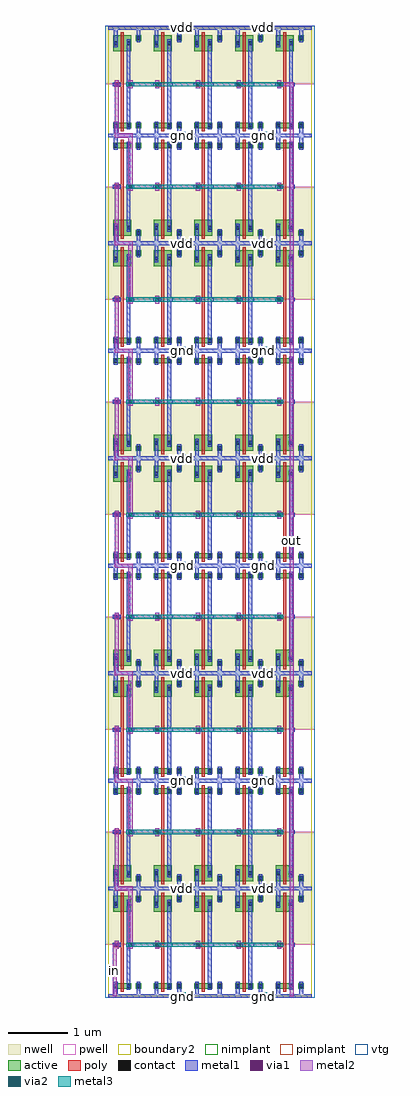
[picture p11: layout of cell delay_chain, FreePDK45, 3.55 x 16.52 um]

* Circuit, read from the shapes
.subckt delay_chain gnd in out vdd
M1 pinv_17_1/A in gnd gnd nfet w=0.09u l=0.05u
M2 pinv_17_10/A pinv_17_1/A gnd gnd nfet w=0.09u l=0.05u
M3 pinv_17_11/A pinv_17_10/A gnd gnd nfet w=0.09u l=0.05u
M4 pinv_17_16/A pinv_17_11/A gnd gnd nfet w=0.09u l=0.05u
M5 pinv_17_21/A pinv_17_16/A gnd gnd nfet w=0.09u l=0.05u
M6 pinv_17_26/A pinv_17_21/A gnd gnd nfet w=0.09u l=0.05u
M7 pinv_17_31/A pinv_17_26/A gnd gnd nfet w=0.09u l=0.05u
M8 pinv_17_36/A pinv_17_31/A gnd gnd nfet w=0.09u l=0.05u
M9 out pinv_17_36/A gnd gnd nfet w=0.09u l=0.05u
M10 pinv_17_1/Z pinv_17_1/A gnd gnd nfet w=0.09u l=0.05u
M11 pinv_17_6/Z pinv_17_10/A gnd gnd nfet w=0.09u l=0.05u
M12 pinv_17_11/Z pinv_17_11/A gnd gnd nfet w=0.09u l=0.05u
M13 pinv_17_16/Z pinv_17_16/A gnd gnd nfet w=0.09u l=0.05u
M14 pinv_17_21/Z pinv_17_21/A gnd gnd nfet w=0.09u l=0.05u
M15 pinv_17_26/Z pinv_17_26/A gnd gnd nfet w=0.09u l=0.05u
M16 pinv_17_31/Z pinv_17_31/A gnd gnd nfet w=0.09u l=0.05u
M17 pinv_17_36/Z pinv_17_36/A gnd gnd nfet w=0.09u l=0.05u
M18 pinv_17_41/Z out gnd gnd nfet w=0.09u l=0.05u
M19 pinv_17_2/Z pinv_17_1/A gnd gnd nfet w=0.09u l=0.05u
M20 pinv_17_7/Z pinv_17_10/A gnd gnd nfet w=0.09u l=0.05u
M21 pinv_17_12/Z pinv_17_11/A gnd gnd nfet w=0.09u l=0.05u
M22 pinv_17_17/Z pinv_17_16/A gnd gnd nfet w=0.09u l=0.05u
M23 pinv_17_22/Z pinv_17_21/A gnd gnd nfet w=0.09u l=0.05u
M24 pinv_17_27/Z pinv_17_26/A gnd gnd nfet w=0.09u l=0.05u
M25 pinv_17_32/Z pinv_17_31/A gnd gnd nfet w=0.09u l=0.05u
M26 pinv_17_37/Z pinv_17_36/A gnd gnd nfet w=0.09u l=0.05u
M27 pinv_17_42/Z out gnd gnd nfet w=0.09u l=0.05u
M28 pinv_17_3/Z pinv_17_1/A gnd gnd nfet w=0.09u l=0.05u
M29 pinv_17_8/Z pinv_17_10/A gnd gnd nfet w=0.09u l=0.05u
M30 pinv_17_13/Z pinv_17_11/A gnd gnd nfet w=0.09u l=0.05u
M31 pinv_17_18/Z pinv_17_16/A gnd gnd nfet w=0.09u l=0.05u
M32 pinv_17_23/Z pinv_17_21/A gnd gnd nfet w=0.09u l=0.05u
M33 pinv_17_28/Z pinv_17_26/A gnd gnd nfet w=0.09u l=0.05u
M34 pinv_17_33/Z pinv_17_31/A gnd gnd nfet w=0.09u l=0.05u
M35 pinv_17_38/Z pinv_17_36/A gnd gnd nfet w=0.09u l=0.05u
M36 pinv_17_43/Z out gnd gnd nfet w=0.09u l=0.05u
M37 pinv_17_4/Z pinv_17_1/A gnd gnd nfet w=0.09u l=0.05u
M38 pinv_17_9/Z pinv_17_10/A gnd gnd nfet w=0.09u l=0.05u
M39 pinv_17_14/Z pinv_17_11/A gnd gnd nfet w=0.09u l=0.05u
M40 pinv_17_19/Z pinv_17_16/A gnd gnd nfet w=0.09u l=0.05u
M41 pinv_17_24/Z pinv_17_21/A gnd gnd nfet w=0.09u l=0.05u
M42 pinv_17_29/Z pinv_17_26/A gnd gnd nfet w=0.09u l=0.05u
M43 pinv_17_34/Z pinv_17_31/A gnd gnd nfet w=0.09u l=0.05u
M44 pinv_17_39/Z pinv_17_36/A gnd gnd nfet w=0.09u l=0.05u
M45 pinv_17_44/Z out gnd gnd nfet w=0.09u l=0.05u
M46 pinv_17_1/A in vdd vdd pfet w=0.27u l=0.05u
M47 pinv_17_10/A pinv_17_1/A vdd vdd pfet w=0.27u l=0.05u
M48 pinv_17_11/A pinv_17_10/A vdd vdd pfet w=0.27u l=0.05u
M49 pinv_17_16/A pinv_17_11/A vdd vdd pfet w=0.27u l=0.05u
M50 pinv_17_21/A pinv_17_16/A vdd vdd pfet w=0.27u l=0.05u
M51 pinv_17_26/A pinv_17_21/A vdd vdd pfet w=0.27u l=0.05u
M52 pinv_17_31/A pinv_17_26/A vdd vdd pfet w=0.27u l=0.05u
M53 pinv_17_36/A pinv_17_31/A vdd vdd pfet w=0.27u l=0.05u
M54 out pinv_17_36/A vdd vdd pfet w=0.27u l=0.05u
M55 pinv_17_1/Z pinv_17_1/A vdd vdd pfet w=0.27u l=0.05u
M56 pinv_17_6/Z pinv_17_10/A vdd vdd pfet w=0.27u l=0.05u
M57 pinv_17_11/Z pinv_17_11/A vdd vdd pfet w=0.27u l=0.05u
M58 pinv_17_16/Z pinv_17_16/A vdd vdd pfet w=0.27u l=0.05u
M59 pinv_17_21/Z pinv_17_21/A vdd vdd pfet w=0.27u l=0.05u
M60 pinv_17_26/Z pinv_17_26/A vdd vdd pfet w=0.27u l=0.05u
M61 pinv_17_31/Z pinv_17_31/A vdd vdd pfet w=0.27u l=0.05u
M62 pinv_17_36/Z pinv_17_36/A vdd vdd pfet w=0.27u l=0.05u
M63 pinv_17_41/Z out vdd vdd pfet w=0.27u l=0.05u
M64 pinv_17_2/Z pinv_17_1/A vdd vdd pfet w=0.27u l=0.05u
M65 pinv_17_7/Z pinv_17_10/A vdd vdd pfet w=0.27u l=0.05u
M66 pinv_17_12/Z pinv_17_11/A vdd vdd pfet w=0.27u l=0.05u
M67 pinv_17_17/Z pinv_17_16/A vdd vdd pfet w=0.27u l=0.05u
M68 pinv_17_22/Z pinv_17_21/A vdd vdd pfet w=0.27u l=0.05u
M69 pinv_17_27/Z pinv_17_26/A vdd vdd pfet w=0.27u l=0.05u
M70 pinv_17_32/Z pinv_17_31/A vdd vdd pfet w=0.27u l=0.05u
M71 pinv_17_37/Z pinv_17_36/A vdd vdd pfet w=0.27u l=0.05u
M72 pinv_17_42/Z out vdd vdd pfet w=0.27u l=0.05u
M73 pinv_17_3/Z pinv_17_1/A vdd vdd pfet w=0.27u l=0.05u
M74 pinv_17_8/Z pinv_17_10/A vdd vdd pfet w=0.27u l=0.05u
M75 pinv_17_13/Z pinv_17_11/A vdd vdd pfet w=0.27u l=0.05u
M76 pinv_17_18/Z pinv_17_16/A vdd vdd pfet w=0.27u l=0.05u
M77 pinv_17_23/Z pinv_17_21/A vdd vdd pfet w=0.27u l=0.05u
M78 pinv_17_28/Z pinv_17_26/A vdd vdd pfet w=0.27u l=0.05u
M79 pinv_17_33/Z pinv_17_31/A vdd vdd pfet w=0.27u l=0.05u
M80 pinv_17_38/Z pinv_17_36/A vdd vdd pfet w=0.27u l=0.05u
M81 pinv_17_43/Z out vdd vdd pfet w=0.27u l=0.05u
M82 pinv_17_4/Z pinv_17_1/A vdd vdd pfet w=0.27u l=0.05u
M83 pinv_17_9/Z pinv_17_10/A vdd vdd pfet w=0.27u l=0.05u
M84 pinv_17_14/Z pinv_17_11/A vdd vdd pfet w=0.27u l=0.05u
M85 pinv_17_19/Z pinv_17_16/A vdd vdd pfet w=0.27u l=0.05u
M86 pinv_17_24/Z pinv_17_21/A vdd vdd pfet w=0.27u l=0.05u
M87 pinv_17_29/Z pinv_17_26/A vdd vdd pfet w=0.27u l=0.05u
M88 pinv_17_34/Z pinv_17_31/A vdd vdd pfet w=0.27u l=0.05u
M89 pinv_17_39/Z pinv_17_36/A vdd vdd pfet w=0.27u l=0.05u
M90 pinv_17_44/Z out vdd vdd pfet w=0.27u l=0.05u
.ends

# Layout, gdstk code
import gdstk
lib = gdstk.Library(unit=1e-6, precision=5e-10)
def R(c, l, rs):  # rectangles x0, y0, x1, y1
    for r in rs: c.add(gdstk.rectangle(r[:2], r[2:], *l))
def A(c, l, x, y, w, h, nx, ny, dx, dy):  # array of equal rectangles
    R(c, l, [(x+i*dx, y+j*dy, x+i*dx+w, y+j*dy+h) for i in range(nx) for j in range(ny)])
active = (1, 0)
pwell = (2, 0)
nwell = (3, 0)
nimplant = (4, 0)
pimplant = (5, 0)
vtg = (6, 0)
poly = (9, 0)
contact = (10, 0)
metal1 = (11, 0)
via1 = (12, 0)
metal2 = (13, 0)
via2 = (14, 0)
metal3 = (15, 0)
boundary2 = (239, 0)

contact_9 = lib.new_cell('contact_9')
R(contact_9, active, [(0,0.0225,0.09,0.1125)])
R(contact_9, nwell, [(-0.055,-0.0325,0.145,0.1675)])
R(contact_9, pimplant, [(0,0.0225,0.09,0.1125)])
R(contact_9, contact, [(0.0125,0.035,0.0775,0.1)])
R(contact_9, metal1, [(0.0125,0,0.0775,0.135)])
R(contact_9, boundary2, [(-0.055,-0.0325,0.145,0.1675)])

pmos_m1_w0_270_sm1_dm1_d = lib.new_cell('pmos_m1_w0_270_sm1_dm1_da_p')
R(pmos_m1_w0_270_sm1_dm1_d, active, [(0,0,0.305,0.27)])
R(pmos_m1_w0_270_sm1_dm1_d, nwell, [(-0.08,-0.08,0.385,0.35)])
R(pmos_m1_w0_270_sm1_dm1_d, pimplant, [(0,0,0.305,0.27)])
R(pmos_m1_w0_270_sm1_dm1_d, vtg, [(-0.08,-0.08,0.385,0.35)])
R(pmos_m1_w0_270_sm1_dm1_d, poly, [(0.1275,-0.055,0.1775,0.325), (0.1275,-0.055,0.1775,0.325)])
R(pmos_m1_w0_270_sm1_dm1_d, metal1, [(0.0125,0.0675,0.0775,0.2025), (0.2275,0.0675,0.2925,0.2025)])
R(pmos_m1_w0_270_sm1_dm1_d, boundary2, [(-0.08,-0.08,0.385,0.35)])
pmos_m1_w0_270_sm1_dm1_d.add(gdstk.Reference(contact_9, (0,0.0675)))
pmos_m1_w0_270_sm1_dm1_d.add(gdstk.Reference(contact_9, (0.215,0.0675)))
pmos_m1_w0_270_sm1_dm1_d.add(gdstk.Label('G', (0.1525,0.135), layer=9, texttype=0))
pmos_m1_w0_270_sm1_dm1_d.add(gdstk.Label('S', (0.045,0.135), layer=11, texttype=0))
pmos_m1_w0_270_sm1_dm1_d.add(gdstk.Label('D', (0.26,0.135), layer=11, texttype=0))

contact_14 = lib.new_cell('contact_14')
R(contact_14, active, [(0,0.0225,0.09,0.1125)])
R(contact_14, pwell, [(-0.055,-0.0325,0.145,0.1675)])
R(contact_14, nimplant, [(0,0.0225,0.09,0.1125)])
R(contact_14, contact, [(0.0125,0.035,0.0775,0.1)])
R(contact_14, metal1, [(0.0125,0,0.0775,0.135)])
R(contact_14, boundary2, [(-0.055,-0.0325,0.145,0.1675)])

nmos_m1_w0_090_sm1_dm1_d = lib.new_cell('nmos_m1_w0_090_sm1_dm1_da_p')
R(nmos_m1_w0_090_sm1_dm1_d, active, [(0,0,0.305,0.09)])
R(nmos_m1_w0_090_sm1_dm1_d, pwell, [(-0.08,-0.08,0.385,0.17)])
R(nmos_m1_w0_090_sm1_dm1_d, nimplant, [(0,0,0.305,0.09)])
R(nmos_m1_w0_090_sm1_dm1_d, vtg, [(-0.08,-0.08,0.385,0.17)])
R(nmos_m1_w0_090_sm1_dm1_d, poly, [(0.1275,-0.055,0.1775,0.145), (0.1275,-0.055,0.1775,0.145)])
R(nmos_m1_w0_090_sm1_dm1_d, metal1, [(0.0125,-0.0225,0.0775,0.1125), (0.2275,-0.0225,0.2925,0.1125)])
R(nmos_m1_w0_090_sm1_dm1_d, boundary2, [(-0.08,-0.08,0.385,0.17)])
nmos_m1_w0_090_sm1_dm1_d.add(gdstk.Reference(contact_14, (0,-0.0225)))
nmos_m1_w0_090_sm1_dm1_d.add(gdstk.Reference(contact_14, (0.215,-0.0225)))
nmos_m1_w0_090_sm1_dm1_d.add(gdstk.Label('G', (0.1525,0.045), layer=9, texttype=0))
nmos_m1_w0_090_sm1_dm1_d.add(gdstk.Label('S', (0.045,0.045), layer=11, texttype=0))
nmos_m1_w0_090_sm1_dm1_d.add(gdstk.Label('D', (0.26,0.045), layer=11, texttype=0))

contact_18 = lib.new_cell('contact_18')
R(contact_18, active, [(0,0.0225,0.09,0.1125)])
R(contact_18, nwell, [(-0.055,-0.0325,0.145,0.1675)])
R(contact_18, nimplant, [(0,0.0225,0.09,0.1125)])
R(contact_18, contact, [(0.0125,0.035,0.0775,0.1)])
R(contact_18, metal1, [(0.0125,0,0.0775,0.135)])
R(contact_18, boundary2, [(-0.055,-0.0325,0.145,0.1675)])

contact_19 = lib.new_cell('contact_19')
R(contact_19, active, [(0,0.0225,0.09,0.1125)])
R(contact_19, pwell, [(-0.055,-0.0325,0.145,0.1675)])
R(contact_19, pimplant, [(0,0.0225,0.09,0.1125)])
R(contact_19, contact, [(0.0125,0.035,0.0775,0.1)])
R(contact_19, metal1, [(0.0125,0,0.0775,0.135)])
R(contact_19, boundary2, [(-0.055,-0.0325,0.145,0.1675)])

contact_10 = lib.new_cell('contact_10')
R(contact_10, poly, [(0.03,0,0.105,0.075)])
R(contact_10, contact, [(0.035,0.005,0.1,0.07)])
R(contact_10, metal1, [(0,0.005,0.135,0.07)])
R(contact_10, boundary2, [(0,0,0.135,0.075)])

pinv_17 = lib.new_cell('pinv_17')
R(pinv_17, pwell, [(-0.055,-0.0325,0.7425,0.8725)])
R(pinv_17, nwell, [(-0.055,0.8725,0.7425,1.855)])
R(pinv_17, vtg, [(-0.055,-0.0325,0.7425,0.8725), (-0.055,0.8725,0.7425,1.855)])
R(pinv_17, poly, [(0.2075,0.27,0.2575,1.37), (0.14,0.8275,0.2075,0.9025)])
R(pinv_17, metal1, [(0,-0.0325,0.6875,0.0325), (0.0925,-0.0325,0.1575,0.1025), (0.4775,0,0.5425,0.17), (0.3075,0.1025,0.3725,1.6275), (0.0725,0.8325,0.2075,0.8975), (0.34,0.8325,0.405,0.8975), (0.0925,1.4925,0.1575,1.8525), (0.4775,1.65,0.5425,1.82), (0,1.7875,0.6875,1.8525)])
R(pinv_17, boundary2, [(0,0,0.6875,1.82), (0,0,0.6875,1.82)])
pinv_17.add(gdstk.Reference(pmos_m1_w0_270_sm1_dm1_d, (0.08,1.425)))
pinv_17.add(gdstk.Reference(nmos_m1_w0_090_sm1_dm1_d, (0.08,0.125)))
pinv_17.add(gdstk.Reference(contact_18, (0.465,1.5825)))
pinv_17.add(gdstk.Reference(contact_19, (0.465,0.1025)))
pinv_17.add(gdstk.Reference(contact_10, (0.0725,0.8275)))
pinv_17.add(gdstk.Label('A', (0.14,0.865), layer=11, texttype=0))
pinv_17.add(gdstk.Label('Z', (0.3725,0.865), layer=11, texttype=0))
pinv_17.add(gdstk.Label('gnd', (0.344,0), layer=11, texttype=0))
pinv_17.add(gdstk.Label('vdd', (0.344,1.82), layer=11, texttype=0))

contact_6 = lib.new_cell('contact_6')
R(contact_6, metal1, [(0,0.035,0.135,0.1)])
R(contact_6, via1, [(0.035,0.035,0.1,0.1)])
R(contact_6, metal2, [(0.0325,0,0.1025,0.135)])
R(contact_6, boundary2, [(0,0,0.135,0.135)])

contact_7 = lib.new_cell('contact_7')
R(contact_7, metal2, [(0.0325,0,0.1025,0.135)])
R(contact_7, via2, [(0.035,0.035,0.1,0.1)])
R(contact_7, metal3, [(0,0.0325,0.135,0.1025)])
R(contact_7, boundary2, [(0,0,0.135,0.135)])

delay_chain = lib.new_cell('delay_chain')
A(delay_chain, metal2, 0.3375, 0.865, 0.07, 0.955, 1, 4, 0, 3.64)
A(delay_chain, metal2, 0.105, 1.785, 0.07, 0.07, 1, 8, 0, 1.82)
A(delay_chain, metal2, 0.14, 1.785, 0.2325, 0.07, 1, 8, 0, 1.82)
A(delay_chain, metal2, 0.3375, 1.785, 0.07, 0.07, 1, 8, 0, 1.82)
A(delay_chain, metal2, 0.105, 1.82, 0.07, 0.955, 1, 4, 0, 3.64)
A(delay_chain, metal2, 0.3375, 2.775, 0.07, 0.865, 1, 4, 0, 3.64)
A(delay_chain, metal2, 0.105, 3.64, 0.07, 0.865, 1, 4, 0, 3.64)
R(delay_chain, metal2, [(0.0725,0,0.1425,0.865), (3.065,0,3.135,15.425), (3.065,0,3.135,15.425), (2.89,15.39,3.1,15.46), (3.065,15.39,3.135,15.46)])
A(delay_chain, metal3, 1.1775, -0.0675, 0.135, 0.135, 1, 6, 0, 1.82)
A(delay_chain, metal3, 2.5525, -0.0675, 0.135, 0.135, 1, 6, 0, 1.82)
A(delay_chain, metal3, 1.1775, 9.0325, 0.135, 0.135, 1, 5, 0, 1.82)
A(delay_chain, metal3, 2.5525, 9.0325, 0.135, 0.135, 1, 5, 0, 1.82)
R(delay_chain, metal3, [(0.3725,0.83,2.89,0.9), (0.3725,2.74,2.89,2.81), (0.3725,4.47,2.89,4.54), (0.3725,6.38,2.89,6.45), (0.3725,8.11,2.89,8.18), (0.3725,10.02,2.89,10.09), (0.3725,11.75,2.89,11.82), (0.3725,13.66,2.89,13.73), (0.3725,15.39,2.89,15.46)])
R(delay_chain, boundary2, [(0,0,3.4375,16.38)])
delay_chain.add(gdstk.Reference(pinv_17, (0,0)))
delay_chain.add(gdstk.Reference(pinv_17, (0.6875,0)))
delay_chain.add(gdstk.Reference(pinv_17, (1.375,0)))
delay_chain.add(gdstk.Reference(pinv_17, (2.0625,0)))
delay_chain.add(gdstk.Reference(pinv_17, (2.75,0)))
delay_chain.add(gdstk.Reference(pinv_17, (0,3.64), x_reflection=True))
delay_chain.add(gdstk.Reference(pinv_17, (0.6875,3.64), x_reflection=True))
delay_chain.add(gdstk.Reference(pinv_17, (1.375,3.64), x_reflection=True))
delay_chain.add(gdstk.Reference(pinv_17, (2.0625,3.64), x_reflection=True))
delay_chain.add(gdstk.Reference(pinv_17, (2.75,3.64), x_reflection=True))
delay_chain.add(gdstk.Reference(pinv_17, (0,3.64)))
delay_chain.add(gdstk.Reference(pinv_17, (0.6875,3.64)))
delay_chain.add(gdstk.Reference(pinv_17, (1.375,3.64)))
delay_chain.add(gdstk.Reference(pinv_17, (2.0625,3.64)))
delay_chain.add(gdstk.Reference(pinv_17, (2.75,3.64)))
delay_chain.add(gdstk.Reference(pinv_17, (0,7.28), x_reflection=True))
delay_chain.add(gdstk.Reference(pinv_17, (0.6875,7.28), x_reflection=True))
delay_chain.add(gdstk.Reference(pinv_17, (1.375,7.28), x_reflection=True))
delay_chain.add(gdstk.Reference(pinv_17, (2.0625,7.28), x_reflection=True))
delay_chain.add(gdstk.Reference(pinv_17, (2.75,7.28), x_reflection=True))
delay_chain.add(gdstk.Reference(pinv_17, (0,7.28)))
delay_chain.add(gdstk.Reference(pinv_17, (0.6875,7.28)))
delay_chain.add(gdstk.Reference(pinv_17, (1.375,7.28)))
delay_chain.add(gdstk.Reference(pinv_17, (2.0625,7.28)))
delay_chain.add(gdstk.Reference(pinv_17, (2.75,7.28)))
delay_chain.add(gdstk.Reference(pinv_17, (0,10.92), x_reflection=True))
delay_chain.add(gdstk.Reference(pinv_17, (0.6875,10.92), x_reflection=True))
delay_chain.add(gdstk.Reference(pinv_17, (1.375,10.92), x_reflection=True))
delay_chain.add(gdstk.Reference(pinv_17, (2.0625,10.92), x_reflection=True))
delay_chain.add(gdstk.Reference(pinv_17, (2.75,10.92), x_reflection=True))
delay_chain.add(gdstk.Reference(pinv_17, (0,10.92)))
delay_chain.add(gdstk.Reference(pinv_17, (0.6875,10.92)))
delay_chain.add(gdstk.Reference(pinv_17, (1.375,10.92)))
delay_chain.add(gdstk.Reference(pinv_17, (2.0625,10.92)))
delay_chain.add(gdstk.Reference(pinv_17, (2.75,10.92)))
delay_chain.add(gdstk.Reference(pinv_17, (0,14.56), x_reflection=True))
delay_chain.add(gdstk.Reference(pinv_17, (0.6875,14.56), x_reflection=True))
delay_chain.add(gdstk.Reference(pinv_17, (1.375,14.56), x_reflection=True))
delay_chain.add(gdstk.Reference(pinv_17, (2.0625,14.56), x_reflection=True))
delay_chain.add(gdstk.Reference(pinv_17, (2.75,14.56), x_reflection=True))
delay_chain.add(gdstk.Reference(pinv_17, (0,14.56)))
delay_chain.add(gdstk.Reference(pinv_17, (0.6875,14.56)))
delay_chain.add(gdstk.Reference(pinv_17, (1.375,14.56)))
delay_chain.add(gdstk.Reference(pinv_17, (2.0625,14.56)))
delay_chain.add(gdstk.Reference(pinv_17, (2.75,14.56)))
delay_chain.add(gdstk.Reference(contact_6, (0.76,0.7975)))
delay_chain.add(gdstk.Reference(contact_7, (0.76,0.7975)))
delay_chain.add(gdstk.Reference(contact_6, (1.4475,0.7975)))
delay_chain.add(gdstk.Reference(contact_7, (1.4475,0.7975)))
delay_chain.add(gdstk.Reference(contact_6, (2.135,0.7975)))
delay_chain.add(gdstk.Reference(contact_7, (2.135,0.7975)))
delay_chain.add(gdstk.Reference(contact_6, (2.8225,0.7975)))
delay_chain.add(gdstk.Reference(contact_7, (2.8225,0.7975)))
delay_chain.add(gdstk.Reference(contact_6, (0.0725,0.7975)))
delay_chain.add(gdstk.Reference(contact_6, (0.305,0.7975)))
delay_chain.add(gdstk.Reference(contact_7, (0.305,0.7975)))
delay_chain.add(gdstk.Reference(contact_6, (0.76,2.7075)))
delay_chain.add(gdstk.Reference(contact_7, (0.76,2.7075)))
delay_chain.add(gdstk.Reference(contact_6, (1.4475,2.7075)))
delay_chain.add(gdstk.Reference(contact_7, (1.4475,2.7075)))
delay_chain.add(gdstk.Reference(contact_6, (2.135,2.7075)))
delay_chain.add(gdstk.Reference(contact_7, (2.135,2.7075)))
delay_chain.add(gdstk.Reference(contact_6, (2.8225,2.7075)))
delay_chain.add(gdstk.Reference(contact_7, (2.8225,2.7075)))
delay_chain.add(gdstk.Reference(contact_6, (0.0725,2.7075)))
delay_chain.add(gdstk.Reference(contact_6, (0.305,2.7075)))
delay_chain.add(gdstk.Reference(contact_7, (0.305,2.7075)))
delay_chain.add(gdstk.Reference(contact_6, (0.76,4.4375)))
delay_chain.add(gdstk.Reference(contact_7, (0.76,4.4375)))
delay_chain.add(gdstk.Reference(contact_6, (1.4475,4.4375)))
delay_chain.add(gdstk.Reference(contact_7, (1.4475,4.4375)))
delay_chain.add(gdstk.Reference(contact_6, (2.135,4.4375)))
delay_chain.add(gdstk.Reference(contact_7, (2.135,4.4375)))
delay_chain.add(gdstk.Reference(contact_6, (2.8225,4.4375)))
delay_chain.add(gdstk.Reference(contact_7, (2.8225,4.4375)))
delay_chain.add(gdstk.Reference(contact_6, (0.0725,4.4375)))
delay_chain.add(gdstk.Reference(contact_6, (0.305,4.4375)))
delay_chain.add(gdstk.Reference(contact_7, (0.305,4.4375)))
delay_chain.add(gdstk.Reference(contact_6, (0.76,6.3475)))
delay_chain.add(gdstk.Reference(contact_7, (0.76,6.3475)))
delay_chain.add(gdstk.Reference(contact_6, (1.4475,6.3475)))
delay_chain.add(gdstk.Reference(contact_7, (1.4475,6.3475)))
delay_chain.add(gdstk.Reference(contact_6, (2.135,6.3475)))
delay_chain.add(gdstk.Reference(contact_7, (2.135,6.3475)))
delay_chain.add(gdstk.Reference(contact_6, (2.8225,6.3475)))
delay_chain.add(gdstk.Reference(contact_7, (2.8225,6.3475)))
delay_chain.add(gdstk.Reference(contact_6, (0.0725,6.3475)))
delay_chain.add(gdstk.Reference(contact_6, (0.305,6.3475)))
delay_chain.add(gdstk.Reference(contact_7, (0.305,6.3475)))
delay_chain.add(gdstk.Reference(contact_6, (0.76,8.0775)))
delay_chain.add(gdstk.Reference(contact_7, (0.76,8.0775)))
delay_chain.add(gdstk.Reference(contact_6, (1.4475,8.0775)))
delay_chain.add(gdstk.Reference(contact_7, (1.4475,8.0775)))
delay_chain.add(gdstk.Reference(contact_6, (2.135,8.0775)))
delay_chain.add(gdstk.Reference(contact_7, (2.135,8.0775)))
delay_chain.add(gdstk.Reference(contact_6, (2.8225,8.0775)))
delay_chain.add(gdstk.Reference(contact_7, (2.8225,8.0775)))
delay_chain.add(gdstk.Reference(contact_6, (0.0725,8.0775)))
delay_chain.add(gdstk.Reference(contact_6, (0.305,8.0775)))
delay_chain.add(gdstk.Reference(contact_7, (0.305,8.0775)))
delay_chain.add(gdstk.Reference(contact_6, (0.76,9.9875)))
delay_chain.add(gdstk.Reference(contact_7, (0.76,9.9875)))
delay_chain.add(gdstk.Reference(contact_6, (1.4475,9.9875)))
delay_chain.add(gdstk.Reference(contact_7, (1.4475,9.9875)))
delay_chain.add(gdstk.Reference(contact_6, (2.135,9.9875)))
delay_chain.add(gdstk.Reference(contact_7, (2.135,9.9875)))
delay_chain.add(gdstk.Reference(contact_6, (2.8225,9.9875)))
delay_chain.add(gdstk.Reference(contact_7, (2.8225,9.9875)))
delay_chain.add(gdstk.Reference(contact_6, (0.0725,9.9875)))
delay_chain.add(gdstk.Reference(contact_6, (0.305,9.9875)))
delay_chain.add(gdstk.Reference(contact_7, (0.305,9.9875)))
delay_chain.add(gdstk.Reference(contact_6, (0.76,11.7175)))
delay_chain.add(gdstk.Reference(contact_7, (0.76,11.7175)))
delay_chain.add(gdstk.Reference(contact_6, (1.4475,11.7175)))
delay_chain.add(gdstk.Reference(contact_7, (1.4475,11.7175)))
delay_chain.add(gdstk.Reference(contact_6, (2.135,11.7175)))
delay_chain.add(gdstk.Reference(contact_7, (2.135,11.7175)))
delay_chain.add(gdstk.Reference(contact_6, (2.8225,11.7175)))
delay_chain.add(gdstk.Reference(contact_7, (2.8225,11.7175)))
delay_chain.add(gdstk.Reference(contact_6, (0.0725,11.7175)))
delay_chain.add(gdstk.Reference(contact_6, (0.305,11.7175)))
delay_chain.add(gdstk.Reference(contact_7, (0.305,11.7175)))
delay_chain.add(gdstk.Reference(contact_6, (0.76,13.6275)))
delay_chain.add(gdstk.Reference(contact_7, (0.76,13.6275)))
delay_chain.add(gdstk.Reference(contact_6, (1.4475,13.6275)))
delay_chain.add(gdstk.Reference(contact_7, (1.4475,13.6275)))
delay_chain.add(gdstk.Reference(contact_6, (2.135,13.6275)))
delay_chain.add(gdstk.Reference(contact_7, (2.135,13.6275)))
delay_chain.add(gdstk.Reference(contact_6, (2.8225,13.6275)))
delay_chain.add(gdstk.Reference(contact_7, (2.8225,13.6275)))
delay_chain.add(gdstk.Reference(contact_6, (0.0725,13.6275)))
delay_chain.add(gdstk.Reference(contact_6, (0.305,13.6275)))
delay_chain.add(gdstk.Reference(contact_7, (0.305,13.6275)))
delay_chain.add(gdstk.Reference(contact_6, (0.76,15.3575)))
delay_chain.add(gdstk.Reference(contact_7, (0.76,15.3575)))
delay_chain.add(gdstk.Reference(contact_6, (1.4475,15.3575)))
delay_chain.add(gdstk.Reference(contact_7, (1.4475,15.3575)))
delay_chain.add(gdstk.Reference(contact_6, (2.135,15.3575)))
delay_chain.add(gdstk.Reference(contact_7, (2.135,15.3575)))
delay_chain.add(gdstk.Reference(contact_6, (2.8225,15.3575)))
delay_chain.add(gdstk.Reference(contact_7, (2.8225,15.3575)))
delay_chain.add(gdstk.Reference(contact_6, (0.0725,15.3575)))
delay_chain.add(gdstk.Reference(contact_6, (0.305,15.3575)))
delay_chain.add(gdstk.Reference(contact_7, (0.305,15.3575)))
delay_chain.add(gdstk.Reference(contact_6, (1.1775,1.7525)))
delay_chain.add(gdstk.Reference(contact_7, (1.1775,1.7525)))
delay_chain.add(gdstk.Reference(contact_6, (2.5525,1.7525)))
delay_chain.add(gdstk.Reference(contact_7, (2.5525,1.7525)))
delay_chain.add(gdstk.Reference(contact_6, (1.1775,-0.0675)))
delay_chain.add(gdstk.Reference(contact_7, (1.1775,-0.0675)))
delay_chain.add(gdstk.Reference(contact_6, (2.5525,-0.0675)))
delay_chain.add(gdstk.Reference(contact_7, (2.5525,-0.0675)))
delay_chain.add(gdstk.Reference(contact_6, (1.1775,1.7525)))
delay_chain.add(gdstk.Reference(contact_7, (1.1775,1.7525)))
delay_chain.add(gdstk.Reference(contact_6, (2.5525,1.7525)))
delay_chain.add(gdstk.Reference(contact_7, (2.5525,1.7525)))
delay_chain.add(gdstk.Reference(contact_6, (1.1775,3.5725)))
delay_chain.add(gdstk.Reference(contact_7, (1.1775,3.5725)))
delay_chain.add(gdstk.Reference(contact_6, (2.5525,3.5725)))
delay_chain.add(gdstk.Reference(contact_7, (2.5525,3.5725)))
delay_chain.add(gdstk.Reference(contact_6, (1.1775,5.3925)))
delay_chain.add(gdstk.Reference(contact_7, (1.1775,5.3925)))
delay_chain.add(gdstk.Reference(contact_6, (2.5525,5.3925)))
delay_chain.add(gdstk.Reference(contact_7, (2.5525,5.3925)))
delay_chain.add(gdstk.Reference(contact_6, (1.1775,3.5725)))
delay_chain.add(gdstk.Reference(contact_7, (1.1775,3.5725)))
delay_chain.add(gdstk.Reference(contact_6, (2.5525,3.5725)))
delay_chain.add(gdstk.Reference(contact_7, (2.5525,3.5725)))
delay_chain.add(gdstk.Reference(contact_6, (1.1775,5.3925)))
delay_chain.add(gdstk.Reference(contact_7, (1.1775,5.3925)))
delay_chain.add(gdstk.Reference(contact_6, (2.5525,5.3925)))
delay_chain.add(gdstk.Reference(contact_7, (2.5525,5.3925)))
delay_chain.add(gdstk.Reference(contact_6, (1.1775,7.2125)))
delay_chain.add(gdstk.Reference(contact_7, (1.1775,7.2125)))
delay_chain.add(gdstk.Reference(contact_6, (2.5525,7.2125)))
delay_chain.add(gdstk.Reference(contact_7, (2.5525,7.2125)))
delay_chain.add(gdstk.Reference(contact_6, (1.1775,9.0325)))
delay_chain.add(gdstk.Reference(contact_7, (1.1775,9.0325)))
delay_chain.add(gdstk.Reference(contact_6, (2.5525,9.0325)))
delay_chain.add(gdstk.Reference(contact_7, (2.5525,9.0325)))
delay_chain.add(gdstk.Reference(contact_6, (1.1775,7.2125)))
delay_chain.add(gdstk.Reference(contact_7, (1.1775,7.2125)))
delay_chain.add(gdstk.Reference(contact_6, (2.5525,7.2125)))
delay_chain.add(gdstk.Reference(contact_7, (2.5525,7.2125)))
delay_chain.add(gdstk.Reference(contact_6, (1.1775,9.0325)))
delay_chain.add(gdstk.Reference(contact_7, (1.1775,9.0325)))
delay_chain.add(gdstk.Reference(contact_6, (2.5525,9.0325)))
delay_chain.add(gdstk.Reference(contact_7, (2.5525,9.0325)))
delay_chain.add(gdstk.Reference(contact_6, (1.1775,10.8525)))
delay_chain.add(gdstk.Reference(contact_7, (1.1775,10.8525)))
delay_chain.add(gdstk.Reference(contact_6, (2.5525,10.8525)))
delay_chain.add(gdstk.Reference(contact_7, (2.5525,10.8525)))
delay_chain.add(gdstk.Reference(contact_6, (1.1775,12.6725)))
delay_chain.add(gdstk.Reference(contact_7, (1.1775,12.6725)))
delay_chain.add(gdstk.Reference(contact_6, (2.5525,12.6725)))
delay_chain.add(gdstk.Reference(contact_7, (2.5525,12.6725)))
delay_chain.add(gdstk.Reference(contact_6, (1.1775,10.8525)))
delay_chain.add(gdstk.Reference(contact_7, (1.1775,10.8525)))
delay_chain.add(gdstk.Reference(contact_6, (2.5525,10.8525)))
delay_chain.add(gdstk.Reference(contact_7, (2.5525,10.8525)))
delay_chain.add(gdstk.Reference(contact_6, (1.1775,12.6725)))
delay_chain.add(gdstk.Reference(contact_7, (1.1775,12.6725)))
delay_chain.add(gdstk.Reference(contact_6, (2.5525,12.6725)))
delay_chain.add(gdstk.Reference(contact_7, (2.5525,12.6725)))
delay_chain.add(gdstk.Reference(contact_6, (1.1775,14.4925)))
delay_chain.add(gdstk.Reference(contact_7, (1.1775,14.4925)))
delay_chain.add(gdstk.Reference(contact_6, (2.5525,14.4925)))
delay_chain.add(gdstk.Reference(contact_7, (2.5525,14.4925)))
delay_chain.add(gdstk.Reference(contact_6, (1.1775,16.3125)))
delay_chain.add(gdstk.Reference(contact_7, (1.1775,16.3125)))
delay_chain.add(gdstk.Reference(contact_6, (2.5525,16.3125)))
delay_chain.add(gdstk.Reference(contact_7, (2.5525,16.3125)))
delay_chain.add(gdstk.Reference(contact_6, (1.1775,14.4925)))
delay_chain.add(gdstk.Reference(contact_7, (1.1775,14.4925)))
delay_chain.add(gdstk.Reference(contact_6, (2.5525,14.4925)))
delay_chain.add(gdstk.Reference(contact_7, (2.5525,14.4925)))
delay_chain.add(gdstk.Reference(contact_6, (0.0725,0.7975)))
delay_chain.add(gdstk.Reference(contact_6, (2.8225,15.3575)))
delay_chain.add(gdstk.Label('vdd', (1.245,1.82), layer=15, texttype=0))
delay_chain.add(gdstk.Label('vdd', (2.62,1.82), layer=15, texttype=0))
delay_chain.add(gdstk.Label('vdd', (2.62,5.46), layer=15, texttype=0))
delay_chain.add(gdstk.Label('vdd', (1.245,12.74), layer=15, texttype=0))
delay_chain.add(gdstk.Label('vdd', (2.62,9.1), layer=15, texttype=0))
delay_chain.add(gdstk.Label('vdd', (2.62,9.1), layer=15, texttype=0))
delay_chain.add(gdstk.Label('vdd', (1.245,9.1), layer=15, texttype=0))
delay_chain.add(gdstk.Label('vdd', (1.245,9.1), layer=15, texttype=0))
delay_chain.add(gdstk.Label('vdd', (2.62,16.38), layer=15, texttype=0))
delay_chain.add(gdstk.Label('vdd', (1.245,5.46), layer=15, texttype=0))
delay_chain.add(gdstk.Label('vdd', (2.62,12.74), layer=15, texttype=0))
delay_chain.add(gdstk.Label('vdd', (1.245,16.38), layer=15, texttype=0))
delay_chain.add(gdstk.Label('gnd', (1.245,7.28), layer=15, texttype=0))
delay_chain.add(gdstk.Label('gnd', (1.245,10.92), layer=15, texttype=0))
delay_chain.add(gdstk.Label('gnd', (1.245,0), layer=15, texttype=0))
delay_chain.add(gdstk.Label('gnd', (1.245,14.56), layer=15, texttype=0))
delay_chain.add(gdstk.Label('gnd', (2.62,7.28), layer=15, texttype=0))
delay_chain.add(gdstk.Label('gnd', (2.62,3.64), layer=15, texttype=0))
delay_chain.add(gdstk.Label('gnd', (1.245,3.64), layer=15, texttype=0))
delay_chain.add(gdstk.Label('gnd', (2.62,10.92), layer=15, texttype=0))
delay_chain.add(gdstk.Label('gnd', (2.62,0), layer=15, texttype=0))
delay_chain.add(gdstk.Label('gnd', (2.62,14.56), layer=15, texttype=0))
delay_chain.add(gdstk.Label('in', (0.1075,0.4325), layer=13, texttype=0))
delay_chain.add(gdstk.Label('out', (3.1,7.7125), layer=13, texttype=0))

lib.write_gds('delay_chain.gds')
